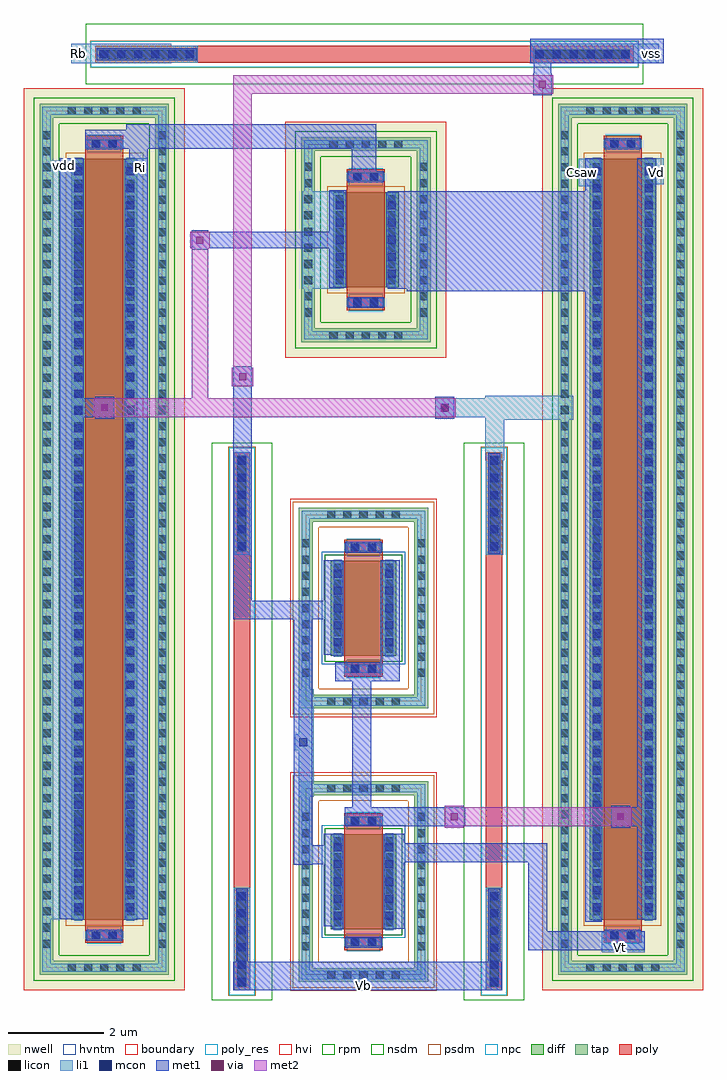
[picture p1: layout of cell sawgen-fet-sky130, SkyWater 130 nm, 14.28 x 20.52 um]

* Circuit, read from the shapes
.subckt sawgen-fet-sky130 Csaw Rb Ri Vb Vd Vt vdd vss
XM1 Vt Vd vss vss sky130_fd_pr__nfet_g5v0d10v5 w=2 l=0.8
XM2 Vd Vd vss vss sky130_fd_pr__nfet_g5v0d10v5 w=2 l=0.8
XM3 Ri Ri vdd vdd sky130_fd_pr__pfet_g5v0d10v5 w=16 l=0.8
XM4 Csaw Ri vdd vdd sky130_fd_pr__pfet_g5v0d10v5 w=2 l=0.8
XM5 Vd Vt Csaw vdd sky130_fd_pr__pfet_g5v0d10v5 w=16 l=0.8
XR6 vss Rb vss sky130_fd_pr__res_high_po w=0.35 l=7
XR7 vss Vb vss sky130_fd_pr__res_high_po w=0.35 l=7
XR8 vdd Vb vss sky130_fd_pr__res_high_po w=0.35 l=7
.ends

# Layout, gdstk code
from math import pi, radians
import gdstk
lib = gdstk.Library(unit=1e-6, precision=1e-09)
def R(c, l, rs):  # rectangles x0, y0, x1, y1
    for r in rs: c.add(gdstk.rectangle(r[:2], r[2:], *l))
def A(c, l, x, y, w, h, nx, ny, dx, dy):  # array of equal rectangles
    R(c, l, [(x+i*dx, y+j*dy, x+i*dx+w, y+j*dy+h) for i in range(nx) for j in range(ny)])
nwell = (64, 20)
diff = (65, 20)
tap = (65, 44)
poly_res = (66, 13)
poly = (66, 20)
licon = (66, 44)
li1 = (67, 20)
mcon = (67, 44)
met1 = (68, 20)
via = (68, 44)
met2 = (69, 20)
hvi = (75, 20)
rpm = (86, 20)
nsdm = (93, 44)
psdm = (94, 20)
npc = (95, 20)
hvntm = (125, 20)
boundary = (235, 4)

sky130_fd_pr__res_high_p = lib.new_cell('sky130_fd_pr__res_high_po_0p35_QHYJR3')
R(sky130_fd_pr__res_high_p, poly_res, [(-0.175,-3.56,0.175,3.56)])
R(sky130_fd_pr__res_high_p, poly, [(-0.175,-5.66,0.175,5.66)])
R(sky130_fd_pr__res_high_p, licon, [(-0.095,-5.58,0.095,-3.58), (-0.095,3.58,0.095,5.58)])
R(sky130_fd_pr__res_high_p, li1, [(-0.175,-5.66,0.175,-3.5), (-0.175,3.5,0.175,5.66)])
A(sky130_fd_pr__res_high_p, mcon, -0.085, -5.565, 0.17, 0.17, 1, 6, 0, 0.36)
A(sky130_fd_pr__res_high_p, mcon, -0.085, 3.59, 0.17, 0.17, 1, 6, 0, 0.36)
R(sky130_fd_pr__res_high_p, met1, [(-0.125,-5.63,0.125,-3.525), (-0.125,3.525,0.125,5.63)])
R(sky130_fd_pr__res_high_p, rpm, [(-0.635,-5.86,0.635,5.86)])
R(sky130_fd_pr__res_high_p, psdm, [(-0.285,-5.77,0.285,5.77)])
R(sky130_fd_pr__res_high_p, npc, [(-0.27,-5.755,0.27,5.755)])

sky130_fd_pr__pfet_g5v0d = lib.new_cell('sky130_fd_pr__pfet_g5v0d10v5_TTPRW6')
R(sky130_fd_pr__pfet_g5v0d, nwell, [(-1.69,-9.485,1.69,9.485)])
R(sky130_fd_pr__pfet_g5v0d, diff, [(-0.69,-8,0.69,8)])
R(sky130_fd_pr__pfet_g5v0d, tap, [(-1.36,-9.155,1.36,-8.865), (-1.36,-8.865,-1.07,8.865), (1.07,-8.865,1.36,8.865), (-1.36,8.865,1.36,9.155)])
R(sky130_fd_pr__pfet_g5v0d, poly, [(-0.4,-8.485,0.4,8.485)])
A(sky130_fd_pr__pfet_g5v0d, licon, -0.765, -9.095, 0.17, 0.17, 5, 2, 0.34, 18.02)
A(sky130_fd_pr__pfet_g5v0d, licon, -1.3, -8.585, 0.17, 0.17, 1, 51, 0, 0.34)
A(sky130_fd_pr__pfet_g5v0d, licon, 1.13, -8.585, 0.17, 0.17, 1, 51, 0, 0.34)
A(sky130_fd_pr__pfet_g5v0d, licon, -0.63, -7.905, 0.17, 0.17, 1, 47, 0, 0.34)
A(sky130_fd_pr__pfet_g5v0d, licon, 0.46, -7.905, 0.17, 0.17, 1, 47, 0, 0.34)
R(sky130_fd_pr__pfet_g5v0d, licon, [(-0.255,-8.405,-0.085,-8.235), (0.085,-8.405,0.255,-8.235), (-0.255,8.235,-0.085,8.405), (0.085,8.235,0.255,8.405)])
R(sky130_fd_pr__pfet_g5v0d, li1, [(-1.3,-9.095,1.3,-8.925), (-1.3,-8.925,-1.13,8.925), (1.13,-8.925,1.3,8.925), (-0.4,-8.405,0.4,-8.235), (-0.63,-8.02,-0.46,8.02), (0.46,-8.02,0.63,8.02), (-0.4,8.235,0.4,8.405), (-1.3,8.925,1.3,9.095)])
A(sky130_fd_pr__pfet_g5v0d, mcon, -0.63, -7.825, 0.17, 0.17, 1, 44, 0, 0.36)
A(sky130_fd_pr__pfet_g5v0d, mcon, 0.46, -7.825, 0.17, 0.17, 1, 44, 0, 0.36)
R(sky130_fd_pr__pfet_g5v0d, mcon, [(-0.265,-8.405,-0.095,-8.235), (0.095,-8.405,0.265,-8.235), (-0.265,8.235,-0.095,8.405), (0.095,8.235,0.265,8.405)])
R(sky130_fd_pr__pfet_g5v0d, met1, [(-0.38,-8.435,0.38,-8.205), (-0.66,-8,-0.43,8), (0.43,-8,0.66,8), (-0.38,8.205,0.38,8.435)])
R(sky130_fd_pr__pfet_g5v0d, hvi, [(-1.69,-9.485,1.69,9.485)])
R(sky130_fd_pr__pfet_g5v0d, nsdm, [(-1.485,-9.28,1.485,-8.74), (-1.485,-8.74,-0.945,8.74), (0.945,-8.74,1.485,8.74), (-1.485,8.74,1.485,9.28)])
R(sky130_fd_pr__pfet_g5v0d, psdm, [(-0.815,-8.125,0.815,8.125)])
R(sky130_fd_pr__pfet_g5v0d, npc, [(-0.355,-8.505,0.355,-8.135), (-0.355,8.135,0.355,8.505)])
R(sky130_fd_pr__pfet_g5v0d, boundary, [(-1.215,-9.01,1.215,9.01)])

sky130_fd_pr__nfet_g5v0d = lib.new_cell('sky130_fd_pr__nfet_g5v0d10v5_UQEUHA')
R(sky130_fd_pr__nfet_g5v0d, diff, [(-0.69,-1,0.69,1)])
R(sky130_fd_pr__nfet_g5v0d, tap, [(-1.36,-2.11,1.36,-1.82), (-1.36,-1.82,-1.07,1.82), (1.07,-1.82,1.36,1.82), (-1.36,1.82,1.36,2.11)])
R(sky130_fd_pr__nfet_g5v0d, poly, [(-0.4,-1.44,0.4,1.44)])
A(sky130_fd_pr__nfet_g5v0d, licon, -0.765, -2.05, 0.17, 0.17, 5, 2, 0.34, 3.93)
A(sky130_fd_pr__nfet_g5v0d, licon, -1.3, -1.445, 0.17, 0.17, 1, 9, 0, 0.34)
A(sky130_fd_pr__nfet_g5v0d, licon, 1.13, -1.445, 0.17, 0.17, 1, 9, 0, 0.34)
A(sky130_fd_pr__nfet_g5v0d, licon, -0.63, -0.935, 0.17, 0.17, 1, 6, 0, 0.34)
A(sky130_fd_pr__nfet_g5v0d, licon, 0.46, -0.935, 0.17, 0.17, 1, 6, 0, 0.34)
R(sky130_fd_pr__nfet_g5v0d, licon, [(-0.255,-1.36,-0.085,-1.19), (0.085,-1.36,0.255,-1.19), (-0.255,1.19,-0.085,1.36), (0.085,1.19,0.255,1.36)])
R(sky130_fd_pr__nfet_g5v0d, li1, [(-1.3,-2.05,1.3,-1.88), (-1.3,-1.88,-1.13,1.88), (1.13,-1.88,1.3,1.88), (-0.4,-1.36,0.4,-1.19), (-0.63,-1.02,-0.46,1.02), (0.46,-1.02,0.63,1.02), (-0.4,1.19,0.4,1.36), (-1.3,1.88,1.3,2.05)])
A(sky130_fd_pr__nfet_g5v0d, mcon, -0.63, -0.805, 0.17, 0.17, 1, 5, 0, 0.36)
A(sky130_fd_pr__nfet_g5v0d, mcon, 0.46, -0.805, 0.17, 0.17, 1, 5, 0, 0.36)
R(sky130_fd_pr__nfet_g5v0d, mcon, [(-0.265,-1.36,-0.095,-1.19), (0.095,-1.36,0.265,-1.19), (-0.265,1.19,-0.095,1.36), (0.095,1.19,0.265,1.36)])
R(sky130_fd_pr__nfet_g5v0d, met1, [(-0.38,-1.39,0.38,-1.16), (-0.66,-1,-0.43,1), (0.43,-1,0.66,1), (-0.38,1.16,0.38,1.39)])
R(sky130_fd_pr__nfet_g5v0d, hvi, [(-1.545,-2.295,1.545,2.295)])
R(sky130_fd_pr__nfet_g5v0d, nsdm, [(-0.815,-1.125,0.815,1.125)])
R(sky130_fd_pr__nfet_g5v0d, psdm, [(-1.485,-2.235,1.485,-1.695), (-1.485,-1.695,-0.945,1.695), (0.945,-1.695,1.485,1.695), (-1.485,1.695,1.485,2.235)])
R(sky130_fd_pr__nfet_g5v0d, npc, [(-0.355,-1.46,0.355,-1.09), (-0.355,1.09,0.355,1.46)])
R(sky130_fd_pr__nfet_g5v0d, hvntm, [(-0.875,-1.185,0.875,1.185)])
R(sky130_fd_pr__nfet_g5v0d, boundary, [(-1.21,-1.96,1.21,1.96)])

c_sky130_fd_pr__pfet_g5v0d = lib.new_cell('sky130_fd_pr__pfet_g5v0d10v5_V4E25R')
R(c_sky130_fd_pr__pfet_g5v0d, nwell, [(-1.69,-2.485,1.69,2.485)])
R(c_sky130_fd_pr__pfet_g5v0d, diff, [(-0.69,-1,0.69,1)])
R(c_sky130_fd_pr__pfet_g5v0d, tap, [(-1.36,-2.155,1.36,-1.865), (-1.36,-1.865,-1.07,1.865), (1.07,-1.865,1.36,1.865), (-1.36,1.865,1.36,2.155)])
R(c_sky130_fd_pr__pfet_g5v0d, poly, [(-0.4,-1.485,0.4,1.485)])
A(c_sky130_fd_pr__pfet_g5v0d, licon, -0.765, -2.095, 0.17, 0.17, 5, 2, 0.34, 4.02)
A(c_sky130_fd_pr__pfet_g5v0d, licon, -1.3, -1.615, 0.17, 0.17, 1, 10, 0, 0.34)
A(c_sky130_fd_pr__pfet_g5v0d, licon, 1.13, -1.615, 0.17, 0.17, 1, 10, 0, 0.34)
A(c_sky130_fd_pr__pfet_g5v0d, licon, -0.63, -0.935, 0.17, 0.17, 1, 6, 0, 0.34)
A(c_sky130_fd_pr__pfet_g5v0d, licon, 0.46, -0.935, 0.17, 0.17, 1, 6, 0, 0.34)
R(c_sky130_fd_pr__pfet_g5v0d, licon, [(-0.255,-1.405,-0.085,-1.235), (0.085,-1.405,0.255,-1.235), (-0.255,1.235,-0.085,1.405), (0.085,1.235,0.255,1.405)])
R(c_sky130_fd_pr__pfet_g5v0d, li1, [(-1.3,-2.095,1.3,-1.925), (-1.3,-1.925,-1.13,1.925), (1.13,-1.925,1.3,1.925), (-0.4,-1.405,0.4,-1.235), (-0.63,-1.02,-0.46,1.02), (0.46,-1.02,0.63,1.02), (-0.4,1.235,0.4,1.405), (-1.3,1.925,1.3,2.095)])
A(c_sky130_fd_pr__pfet_g5v0d, mcon, -0.63, -0.805, 0.17, 0.17, 1, 5, 0, 0.36)
A(c_sky130_fd_pr__pfet_g5v0d, mcon, 0.46, -0.805, 0.17, 0.17, 1, 5, 0, 0.36)
R(c_sky130_fd_pr__pfet_g5v0d, mcon, [(-0.265,-1.405,-0.095,-1.235), (0.095,-1.405,0.265,-1.235), (-0.265,1.235,-0.095,1.405), (0.095,1.235,0.265,1.405)])
R(c_sky130_fd_pr__pfet_g5v0d, met1, [(-0.38,-1.435,0.38,-1.205), (-0.66,-1,-0.43,1), (0.43,-1,0.66,1), (-0.38,1.205,0.38,1.435)])
R(c_sky130_fd_pr__pfet_g5v0d, hvi, [(-1.69,-2.485,1.69,2.485)])
R(c_sky130_fd_pr__pfet_g5v0d, nsdm, [(-1.485,-2.28,1.485,-1.74), (-1.485,-1.74,-0.945,1.74), (0.945,-1.74,1.485,1.74), (-1.485,1.74,1.485,2.28)])
R(c_sky130_fd_pr__pfet_g5v0d, psdm, [(-0.815,-1.125,0.815,1.125)])
R(c_sky130_fd_pr__pfet_g5v0d, npc, [(-0.355,-1.505,0.355,-1.135), (-0.355,1.135,0.355,1.505)])
R(c_sky130_fd_pr__pfet_g5v0d, boundary, [(-1.215,-2.01,1.215,2.01)])

sawgen_fet_sky130 = lib.new_cell('sawgen-fet-sky130')
R(sawgen_fet_sky130, li1, [(-0.65,-0.9,0.25,-0.45), (-12.4,-0.2,-11.55,15.75), (-10.65,-0.2,-10.2,15.78), (-7.02,2.37,-6.71,3.355), (-7.095,3.355,-6.71,3.685), (-7.02,3.685,-6.71,4.63), (-3.09,7.46,-2.72,9.45), (-3.1,9.45,-2.7,10.3), (-3.1,10.3,-1.25,10.35), (-4.15,10.35,-1.25,10.75), (-3.1,10.75,-1.25,10.8), (-6.95,13.05,-6.15,15.1), (-1.13,15.21,-0.67,15.79), (0.25,15.25,0.65,15.8), (-12.05,15.75,-11.55,15.8), (-10.58,15.78,-10.2,15.8), (-11.8,17.8,-9.7,18.2), (-2.15,17.8,0.55,18.2)])
R(sawgen_fet_sky130, mcon, [(-7.015,3.435,-6.845,3.605), (-4.035,10.465,-3.865,10.635)])
R(sawgen_fet_sky130, met1, [(-8.4,-1.7,-2.75,-1.1), (-2.2,-0.85,0.25,-0.45), (-2.2,-0.45,-1.8,1), (-5.2,-0.4,-4.8,1), (-6.5,-0.35,-6.1,0.95), (-1,-0.25,-0.65,13), (-12.05,-0.2,-11.55,10.35), (-10.65,-0.2,-10.2,15.78), (0.1,-0.2,0.5,1.75), (-7.125,0.945,-6.735,0.95), (-7.125,0.95,-6.1,1.35), (-5.2,1,-1.8,1.4), (-7.125,1.35,-6.735,6.105), (-6.5,1.35,-6.1,1.6), (-5.2,1.4,-4.8,1.6), (-0.45,1.72,-0.05,1.75), (-6.05,1.75,-3.52,2.15), (-0.45,1.75,0.5,2.15), (-5.9,2.15,-5.5,4.8), (-0.45,2.15,-0.05,2.18), (0.1,2.15,0.5,15.8), (-6.25,4.8,-4.9,5.2), (-5.3,5.2,-4.9,7.35), (-6.495,5.355,-6.105,6.105), (-8.395,6.105,-6.105,6.495), (-8.395,6.495,-8.005,11.425), (-6.495,6.495,-6.105,7.345), (-11.3,10.32,-10.9,10.35), (-4.15,10.32,-3.75,10.78), (-12.05,10.35,-10.9,10.75), (-12.05,10.75,-11.55,15.8), (-11.3,10.75,-10.9,10.78), (-4.75,13,-0.65,13.05), (-5.15,13.05,-0.65,13.76), (-6.375,13.075,-6.025,13.9), (-5.18,13.76,-0.65,14.24), (-9.275,13.87,-8.925,13.9), (-9.275,13.9,-6.025,14.25), (-5.15,14.24,-0.65,15.1), (-9.275,14.25,-8.925,14.28), (-6.375,14.25,-6.025,15.125), (-1,15.1,-0.65,15.8), (-5.91,15.295,-5.395,15.995), (-10.58,15.78,-10.2,15.995), (-11.505,15.995,-10.79,16), (-10.58,15.995,-5.395,16), (-11.505,16,-5.395,16.4), (-10.65,16.4,-5.395,16.51), (-2.095,17.125,-1.705,17.575), (-2.085,17.575,-1.715,17.8), (-2.15,17.8,0.65,18.305)])
R(sawgen_fet_sky130, via, [(-3.825,1.875,-3.675,2.025), (-0.325,1.875,-0.175,2.025), (-11.175,10.475,-11.025,10.625), (-4.025,10.475,-3.875,10.625), (-8.275,11.125,-8.125,11.275), (-9.175,14,-9.025,14.15), (-1.975,17.275,-1.825,17.425)])
R(sawgen_fet_sky130, met2, [(-3.95,1.72,-3.55,1.75), (-3.95,1.75,-0.02,2.15), (-3.95,2.15,-3.55,2.18), (-11.33,10.35,-3.72,10.75), (-9.275,10.75,-8.925,13.9), (-8.425,11.005,-7.975,11.395), (-8.395,11.395,-8.005,17.155), (-9.305,13.9,-8.895,14.25), (-8.395,17.155,-1.675,17.545)])
sawgen_fet_sky130.add(gdstk.Reference(sky130_fd_pr__res_high_p, (-2.915,3.96)))
sawgen_fet_sky130.add(gdstk.Reference(sky130_fd_pr__res_high_p, (-5.64,17.985), rotation=pi/2))
sawgen_fet_sky130.add(gdstk.Reference(sky130_fd_pr__pfet_g5v0d, (-0.21,7.785)))
sawgen_fet_sky130.add(gdstk.Reference(sky130_fd_pr__pfet_g5v0d, (-11.11,7.785)))
sawgen_fet_sky130.add(gdstk.Reference(sky130_fd_pr__nfet_g5v0d, (-5.66,0.59)))
sawgen_fet_sky130.add(gdstk.Reference(c_sky130_fd_pr__pfet_g5v0d, (-5.61,14.085)))
sawgen_fet_sky130.add(gdstk.Reference(sky130_fd_pr__res_high_p, (-8.215,3.96), rotation=pi))
sawgen_fet_sky130.add(gdstk.Reference(sky130_fd_pr__nfet_g5v0d, (-5.66,6.34)))
sawgen_fet_sky130.add(gdstk.Label('vdd', (-11.95,15.65), layer=68, texttype=16))
sawgen_fet_sky130.add(gdstk.Label('Ri', (-10.35,15.6), layer=67, texttype=16))
sawgen_fet_sky130.add(gdstk.Label('Rb', (-11.65,18), layer=67, texttype=16))
sawgen_fet_sky130.add(gdstk.Label('vss', (0.4,18), layer=68, texttype=16))
sawgen_fet_sky130.add(gdstk.Label('Vd', (0.5,15.5), layer=67, texttype=16))
sawgen_fet_sky130.add(gdstk.Label('Vt', (-0.25,-0.8), layer=67, texttype=16))
sawgen_fet_sky130.add(gdstk.Label('Vb', (-5.65,-1.6), layer=68, texttype=16))
sawgen_fet_sky130.add(gdstk.Label('Csaw', (-1.05,15.5), layer=67, texttype=16))

lib.write_gds('sawgen-fet-sky130.gds')
